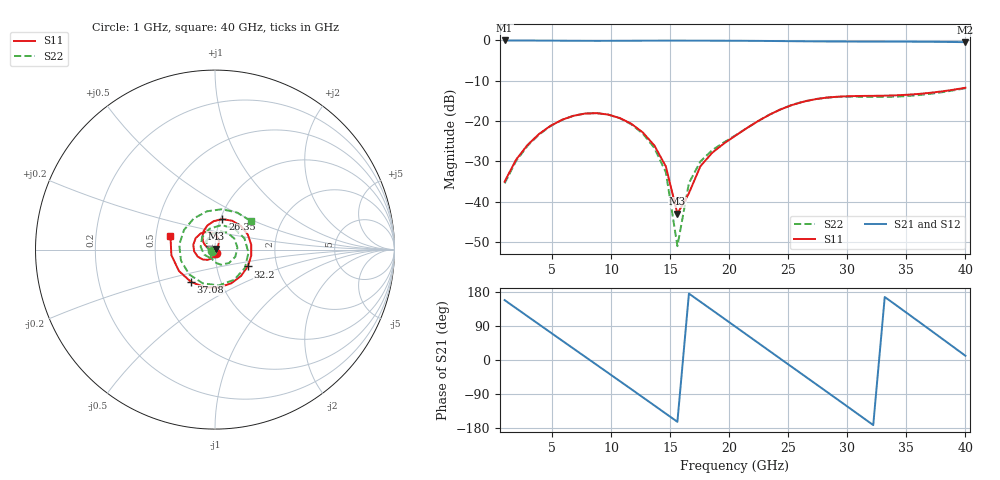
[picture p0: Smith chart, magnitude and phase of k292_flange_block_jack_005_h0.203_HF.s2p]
! Generated by Hertzon (EMerge FEM)
# HZ S RI R 50.8713
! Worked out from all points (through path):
!   41 points, 1 GHz to 40 GHz, reference 50.8713 ohm
!   highest |S21| = -0.01 dB at 1 GHz (marker M1); lowest = -0.4 dB at 40 GHz (marker M2)
!   lowest |S11| = -43.0 dB at 15.62 GHz (marker M3), VSWR 1.01, Z = 51.2 + j0.622 ohm
!   |S11| at or under -10 dB: start of sweep to end of sweep
!   |S22| runs from -51.0 to -11.9 dB; largest |S21 - S12| = 0.0027
!   S11 on the Smith chart (normalised r, x): 1 GHz: 1.01, -0.03; 26.35 GHz: 1.02, +0.36; 32.2 GHz: 1.42, -0.28; 37.08 GHz: 0.72, -0.27; 40 GHz: 0.60, +0.09
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1e9  0.00701 -0.0163  -0.9258 0.3737  -0.9256 0.3746  -0.0148 -0.00818
3.925e9  -0.0394 -0.0571  -0.0649 0.9931  -0.0636 0.9931  -0.046 0.0504
5.875e9  -0.0962 -0.0393  0.6244 0.7701  0.6254 0.7693  0.0184 0.102
7.825e9  -0.1209 0.0275  0.978 0.1428  0.9783 0.1416  0.1078 0.0616
9.775e9  -0.0795 0.0902  0.8162 -0.5571  0.8156 -0.5581  0.1135 -0.0394
1.1725e10  -0.00955 0.092  0.2216 -0.9655  0.2204 -0.9658  0.0335 -0.0846
1.27e10  0.0139 0.0709  -0.1472 -0.981  -0.1485 -0.9808  -0.00457 -0.0696
1.465e10  0.0174 0.021  -0.7785 -0.6172  -0.7794 -0.6162  -0.0199 -0.0117
1.5625e10  0.00367 0.00607  -0.9509 -0.2879  -0.9513 -0.2865  -0.00181 0.00215
1.66e10  -0.0127 0.000707  -0.9897 0.0819  -0.9896 0.0835  0.0167 -0.00348
1.855e10  -0.0392 0.00891  -0.6646 0.7361  -0.6634 0.7372  0.00644 -0.0428
2.05e10  -0.0585 0.0292  0.0209 0.9895  0.0224 0.9895  -0.0598 -0.0281
2.3425e10  -0.0642 0.1015  0.9005 0.3957  0.9012 0.3941  -0.0302 0.1164
2.44e10  -0.0435 0.1334  0.98 0.0347  0.9801 0.0329  0.0355 0.1363
2.635e10  0.0416 0.1697  0.732 -0.6434  0.7307 -0.6447  0.164 0.0627
2.7325e10  0.0952 0.1609  0.4417 -0.8658  0.44 -0.8666  0.1866 -0.0174
2.9275e10  0.182 0.0852  -0.2725 -0.9293  -0.2744 -0.9289  0.1075 -0.1678
3.22e10  0.1828 -0.0937  -0.9568 -0.1387  -0.957 -0.1365  -0.1437 -0.1381
3.415e10  0.0917 -0.1872  -0.7843 0.5631  -0.7829 0.5649  -0.199 0.0271
3.61e10  -0.0542 -0.2104  -0.1698 0.9477  -0.1674 0.9482  -0.1177 0.1741
3.7075e10  -0.1332 -0.1806  0.1999 0.9397  0.2024 0.9393  -0.0441 0.2135
4e10  -0.248 0.0741  0.9329 0.1844  0.9335 0.1817  0.1991 0.1593
